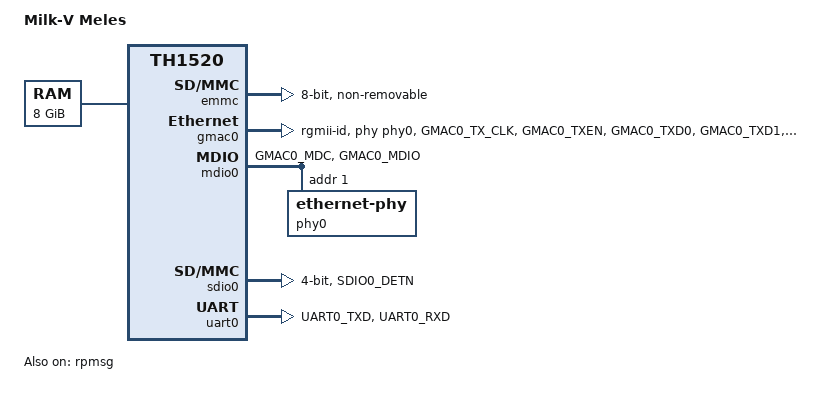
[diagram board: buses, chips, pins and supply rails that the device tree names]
// SPDX-License-Identifier: (GPL-2.0 OR MIT)
/*
 * Copyright (C) 2022 Alibaba Group Holding Limited.
 * Copyright (C) 2024 Milk-V Limited.
 */

/dts-v1/;

#include "th1520.dtsi"
#include <dt-bindings/gpio/gpio.h>

/ {
	model = "Milk-V Meles";
	compatible = "milkv,meles", "thead,th1520";

	aliases {
		ethernet0 = &gmac0;
		gpio0 = &gpio0;
		gpio1 = &gpio1;
		gpio2 = &gpio2;
		gpio3 = &gpio3;
		gpio4 = &gpio4;
		gpio5 = &aogpio;
		serial0 = &uart0;
		serial1 = &uart1;
		serial2 = &uart2;
		serial3 = &uart3;
		serial4 = &uart4;
		serial5 = &uart5;
	};

	chosen {
		stdout-path = "serial0:115200n8";
	};

	memory@0 {
		device_type = "memory";
		reg = <0x0 0x00000000 0x2 0x00000000>;
	};

	resmem: reserved-memory {
		#address-cells = <2>;
		#size-cells = <2>;
		ranges;
		//Note: with "no-map" reserv mem not saved in hibernation
		rpmsgmem: memory@1E000000 {
			reg = <0x0 0x1E000000 0x0 0x10000>;
		};
	};

	light_rpmsg: light_rpmsg {
		compatible = "light,rpmsg-bus", "simple-bus";
		memory-region = <&rpmsgmem>;
		#address-cells = <2>;
		#size-cells = <2>;
		ranges;
		rpmsg: rpmsg {
			vdev-nums = <1>;
			reg = <0x0 0x1E000000 0 0x10000>;
			compatible = "light,light-rpmsg";
			status = "okay";
		};
	};

	aon: aon {
		compatible = "thead,light-aon";
		mbox-names = "aon";
		mboxes = <&mbox_910t 1 0>;
		status = "okay";

		pd: light-aon-pd {
			compatible = "thead,light-aon-pd";
			#power-domain-cells = <1>;
		};

		aon_reg_dialog: light-dialog-reg {
			compatible = "thead,light-dialog-pmic-ant";
			status = "okay";

			dvdd_cpu_reg: appcpu_dvdd {
				regulator-name = "appcpu_dvdd";
				regulator-min-microvolt = <300000>;
				regulator-max-microvolt = <1570000>;
				regulator-boot-on;
				regulator-always-on;
			};

			dvddm_cpu_reg: appcpu_dvddm {
				regulator-name = "appcpu_dvddm";
				regulator-min-microvolt = <300000>;
				regulator-max-microvolt = <1570000>;
				regulator-boot-on;
				regulator-always-on;
			};

			soc_dvdd18_aon_reg: soc_dvdd18_aon {
				regulator-name = "soc_dvdd18_aon";
				regulator-boot-on;
				regulator-always-on;
			};

			soc_avdd33_usb3_reg: soc_avdd33_usb3 {
				regulator-name = "soc_avdd33_usb3";
				regulator-boot-on;
				regulator-always-on;
			};

			soc_dvdd08_aon_reg: soc_dvdd08_aon {
				regulator-name = "soc_dvdd08_aon";
				regulator-boot-on;
				regulator-always-on;
			};

			soc_dvdd08_ddr_reg: soc_dvdd08_ddr {
				regulator-name = "soc_dvdd08_ddr";
				regulator-boot-on;
				regulator-always-on;
			};

			soc_vdd_ddr_1v8_reg: soc_vdd_ddr_1v8 {
				regulator-name = "soc_vdd_ddr_1v8";
				regulator-boot-on;
				regulator-always-on;
			};

			soc_vdd_ddr_1v1_reg: soc_vdd_ddr_1v1 {
				regulator-name = "soc_vdd_ddr_1v1";
				regulator-boot-on;
				regulator-always-on;
			};

			soc_vdd_ddr_0v6_reg: soc_vdd_ddr_0v6 {
				regulator-name = "soc_vdd_ddr_0v6";
				regulator-boot-on;
				regulator-always-on;
			};

			soc_dvdd18_ap_reg: soc_dvdd18_ap {
				regulator-name = "soc_dvdd18_ap";
				regulator-boot-on;
				regulator-always-on;
			};

			soc_avdd08_mipi_hdmi_reg: soc_avdd08_mipi_hdmi {
				regulator-name = "soc_avdd08_mipi_hdmi";
				regulator-boot-on;
				regulator-always-on;
			};

			soc_avdd18_mipi_hdmi_reg: soc_avdd18_mipi_hdmi {
				regulator-name = "soc_avdd18_mipi_hdmi";
				regulator-boot-on;
				regulator-always-on;
			};

			soc_vdd33_emmc_reg: soc_vdd33_emmc {
				regulator-name = "soc_vdd33_emmc";
				regulator-boot-on;
				regulator-always-on;
			};

			soc_vdd18_emmc_reg: soc_vdd18_emmc {
				regulator-name = "soc_vdd18_emmc";
				regulator-boot-on;
				regulator-always-on;
			};

			soc_dovdd18_scan_reg: soc_dovdd18_scan {
				regulator-name = "soc_dovdd18_scan";
				regulator-min-microvolt = <900000>;
				regulator-max-microvolt = <3600000>;
			};

			soc_dvdd12_scan_reg: soc_dvdd12_scan {
				regulator-name = "soc_dvdd12_scan";
				regulator-min-microvolt = <900000>;
				regulator-max-microvolt = <3600000>;
			};

			soc_avdd28_scan_en_reg: soc_avdd28_scan_en {
				regulator-name = "soc_avdd28_scan_en";
				regulator-min-microvolt = <900000>;
				regulator-max-microvolt = <3600000>;
			};
		};

		c910_cpufreq {
			compatible = "thead,light-mpw-cpufreq";
			status = "okay";
		};

		test: light-aon-test {
			compatible = "thead,light-aon-test";
		};
	};
};

&osc_24m {
	clock-frequency = <24000000>;
};

&osc_32k {
	clock-frequency = <32768>;
};

&aonsys_clk {
	clock-frequency = <73728000>;
};

&apb_clk {
	clock-frequency = <62500000>;
};

&sdhci_clk {
	clock-frequency = <198000000>;
};

&uart_sclk {
	clock-frequency = <100000000>;
};

&gmac_clk {
	clock-frequency = <500000000>;
};

&gmac_axi_clk {
	clock-frequency = <100000000>;
};

&dmac0 {
	status = "okay";
};

&emmc {
	bus-width = <8>;
	max-frequency = <198000000>;
	mmc-hs400-1_8v;
	non-removable;
	no-sdio;
	no-sd;
	status = "okay";
};

&gmac0 {
	pinctrl-names = "default";
	pinctrl-0 = <&gmac0_pins>;
	phy-handle = <&phy0>;
	phy-mode = "rgmii-id";
	status = "okay";
};

&mdio0 {
	pinctrl-names = "default";
	pinctrl-0 = <&mdio0_pins>;

	phy0: ethernet-phy@1 {
		reg = <1>;
	};
};

&sdio0 {
	pinctrl-names = "default";
	pinctrl-0 = <&sdio0_pins>;
	bus-width = <4>;
	max-frequency = <198000000>;
	status = "okay";
};

&uart0 {
	pinctrl-names = "default";
	pinctrl-0 = <&uart0_pins>;
	status = "okay";
};

&cpus {
	c910_0: cpu@0 {
		operating-points = <
			/* kHz    uV */
			300000	650000
			800000	700000
			1500000	800000
			1848000 1000000
		>;
		light,dvddm-operating-points = <
			/* kHz   uV */
			300000	800000
			800000	800000
			1500000	800000
			1848000 1000000
		>;
		dvdd-supply = <&dvdd_cpu_reg>;
		dvddm-supply = <&dvddm_cpu_reg>;
	};

	c910_1: cpu@1 {
		operating-points = <
			/* kHz    uV */
			300000	650000
			800000	700000
			1500000	800000
			1848000 1000000
		>;
		light,dvddm-operating-points = <
			/* kHz   uV */
			300000	800000
			800000	800000
			1500000	800000
			1848000 1000000
		>;
		dvdd-supply = <&dvdd_cpu_reg>;
		dvddm-supply = <&dvddm_cpu_reg>;
	};

	c910_2: cpu@2 {
		operating-points = <
			/* kHz    uV */
			300000	650000
			800000	700000
			1500000	800000
			1848000 1000000
		>;
		light,dvddm-operating-points = <
			/* kHz   uV */
			300000	800000
			800000	800000
			1500000	800000
			1848000 1000000
		>;
		dvdd-supply = <&dvdd_cpu_reg>;
		dvddm-supply = <&dvddm_cpu_reg>;
	};

	c910_3: cpu@3 {
		operating-points = <
			/* kHz    uV */
			300000	650000
			800000	700000
			1500000	800000
			1848000 1000000
		>;
		light,dvddm-operating-points = <
			/* kHz   uV */
			300000	800000
			800000	800000
			1500000	800000
			1848000 1000000
		>;
		dvdd-supply = <&dvdd_cpu_reg>;
		dvddm-supply = <&dvddm_cpu_reg>;
	};
};

&padctrl0_apsys {
	gmac0_pins: gmac0-0 {
		tx-pins {
			pins = "GMAC0_TX_CLK",
			       "GMAC0_TXEN",
			       "GMAC0_TXD0",
			       "GMAC0_TXD1",
			       "GMAC0_TXD2",
			       "GMAC0_TXD3";
			function = "gmac0";
			bias-disable;
			drive-strength = <25>;
			input-disable;
			input-schmitt-disable;
			slew-rate = <0>;
		};

		rx-pins {
			pins = "GMAC0_RX_CLK",
			       "GMAC0_RXDV",
			       "GMAC0_RXD0",
			       "GMAC0_RXD1",
			       "GMAC0_RXD2",
			       "GMAC0_RXD3";
			function = "gmac0";
			bias-disable;
			drive-strength = <1>;
			input-enable;
			input-schmitt-disable;
			slew-rate = <0>;
		};
	};

	mdio0_pins: mdio0-0 {
		mdc-pins {
			pins = "GMAC0_MDC";
			function = "gmac0";
			bias-disable;
			drive-strength = <13>;
			input-disable;
			input-schmitt-disable;
			slew-rate = <0>;
		};

		mdio-pins {
			pins = "GMAC0_MDIO";
			function = "gmac0";
			bias-disable;
			drive-strength = <13>;
			input-enable;
			input-schmitt-enable;
			slew-rate = <0>;
		};
	};

	sdio0_pins: sdio0-0 {
		detn-pins {
			pins = "SDIO0_DETN";
			function = "sdio";
			bias-disable; /* external pull-up */
			drive-strength = <1>;
			input-enable;
			input-schmitt-enable;
			slew-rate = <0>;
		};
	};

	uart0_pins: uart0-0 {
		tx-pins {
			pins = "UART0_TXD";
			function = "uart";
			bias-disable;
			drive-strength = <3>;
			input-disable;
			input-schmitt-disable;
			slew-rate = <0>;
		};

		rx-pins {
			pins = "UART0_RXD";
			function = "uart";
			bias-disable;
			drive-strength = <1>;
			input-enable;
			input-schmitt-enable;
			slew-rate = <0>;
		};
	};
};
